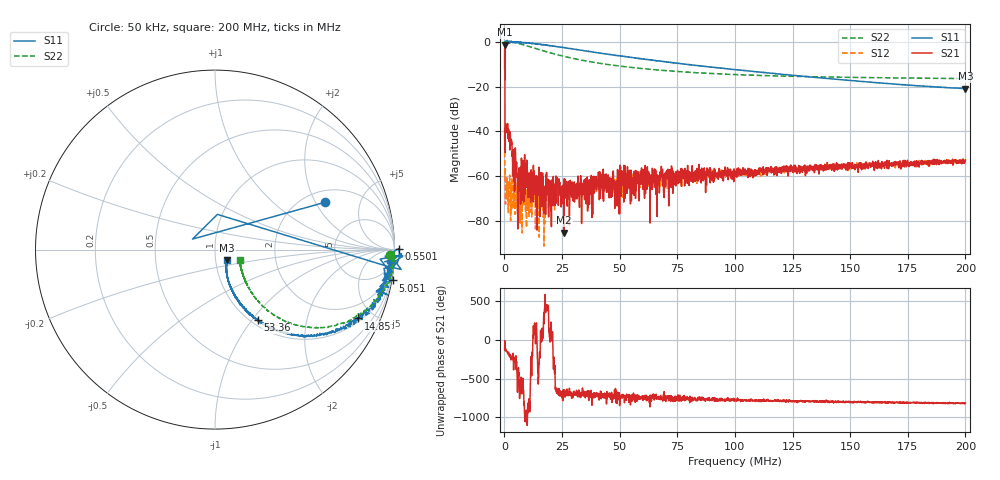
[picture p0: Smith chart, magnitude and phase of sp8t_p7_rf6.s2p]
! 26-Feb-26 1:04:28 PM
! E:\VNA_MEASUREMENTS\SP8T\SP8T_P7_RF6.S2P
! CHANNEL.1
! TR.MEASUREMENT
! CORRECTED.DATA
# GHZ S RI R 50.0
! FREQ.GHZ  S11RE  S11IM  S21RE  S21IM  S12RE  S12IM  S22RE  S22IM
!; PortSelection: Port_12
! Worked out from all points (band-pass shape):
!   2000 points, 50 kHz to 200 MHz, reference 50 ohm
!   highest |S21| = -1.30 dB at 150 kHz (marker M1); lowest = -85.2 dB at 25.86 MHz (marker M2)
!   |S21| within 3 dB of the highest: 121.6 kHz to 156.3 kHz (34.67 kHz wide, 25 % of centre)
!   lowest |S11| = -20.9 dB at 200 MHz (marker M3), VSWR 1.20, Z = 56.7 - j6.85 ohm
!   |S11| at or under -10 dB: 97.5 kHz to 279.8 kHz (182.3 kHz wide, 96.6 % of centre); 77.8274 MHz to 77.90223 MHz (74.82 kHz wide, 0.0961 % of centre); 78.24 MHz to end of sweep
!   |S22| runs from -16.5 to 0.1 dB; largest |S21 - S12| = 0.86
!   S11 on the Smith chart (normalised r, x): 50 kHz: 2.53, +2.41; 550.1 kHz: -84, +20; 5.051 MHz: -0, -12; 14.85 MHz: 1.15, -4.08; 53.36 MHz: 1.07, -1.07; 200 MHz: 1.13, -0.14
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5e-05  0.6138 0.2636  -0.129 -0.2205  0.00412 -0.0115  0.9725 -0.0302
0.000150025  -0.1253 0.0585  0.8433 -0.1737  0.000787 0.000554  1.003 -0.0141
0.000550125  1.023 0.00544  -0.00793 -0.0123  0.000478 -0.000221  0.9909 -0.0286
0.001150275  1.066 -0.0337  -0.0125 -0.00627  8.03e-05 -0.000903  0.9856 -0.0711
0.005051251  0.9909 -0.1719  0.0014 -0.000598  0.000262 0.00022  0.8925 -0.2861
0.006651651  0.9244 -0.2006  0.000162 0.00124  0.000282 -0.000192  0.8236 -0.3515
0.008952226  0.916 -0.2845  -0.000598 0.000263  -0.000367 -0.000107  0.7285 -0.4031
0.0148537  0.7979 -0.3834  -0.000311 -0.000516  -4.3e-05 -0.000146  0.5137 -0.433
0.02585645  0.5646 -0.4783  1.31e-05 5.35e-05  0.000307 0.000409  0.3113 -0.3523
0.03345835  0.4374 -0.4716  8.32e-05 3.08e-05  0.000457 0.000152  0.2494 -0.2976
0.04406101  0.3141 -0.4313  0.00103 0.000467  0.00068 -0.000158  0.2045 -0.2401
0.04866216  0.2671 -0.4137  0.000762 0.000207  0.000556 -4.72e-05  0.1925 -0.2202
0.05006251  0.262 -0.4089  0.000385 -0.000708  0.000917 -0.000364  0.1887 -0.2152
0.05336333  0.2372 -0.3935  0.00162 0.000214  0.00111 -0.000186  0.1822 -0.2029
0.05516378  0.2242 -0.383  0.000657 9.08e-05  0.000859 -0.000159  0.1791 -0.1973
0.06466616  0.1756 -0.341  0.000856 0.00032  0.001 -0.00057  0.1681 -0.1703
0.06676668  0.1684 -0.335  0.00079 -0.000566  0.000699 -0.000508  0.1657 -0.1658
0.06756688  0.1653 -0.3291  0.000973 -0.000655  0.000822 -0.000272  0.1636 -0.163
0.100075  0.0924 -0.2215  0.00046 -0.000992  0.000602 -0.00106  0.1476 -0.1122
0.1333833  0.0677 -0.1476  0.000447 -0.00153  0.000446 -0.00153  0.142 -0.0865
0.1666917  0.0631 -0.0975  0.000107 -0.00147  9.3e-06 -0.00191  0.1403 -0.0697
0.2  0.0667 -0.0599  -0.000227 -0.0023  -0.000337 -0.00209  0.139 -0.0576
